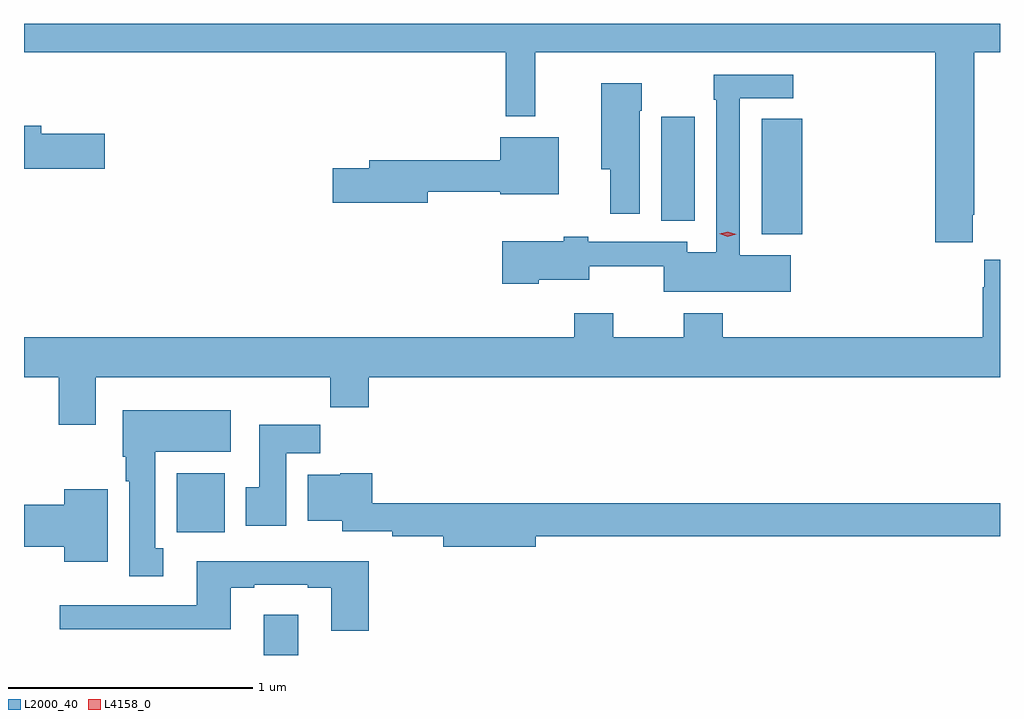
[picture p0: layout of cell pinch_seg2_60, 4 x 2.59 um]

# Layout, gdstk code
import gdstk
lib = gdstk.Library(unit=1e-6, precision=1e-09)
def R(c, l, rs):  # rectangles x0, y0, x1, y1
    for r in rs: c.add(gdstk.rectangle(r[:2], r[2:], *l))
def P(c, l, *ps):  # polygons
    for p in ps: c.add(gdstk.Polygon(p, *l))
L2000_40 = (2000, 40)
L4158_0 = (4158, 0)

pinch_seg2_60 = lib.new_cell('pinch_seg2_60')
R(pinch_seg2_60, L2000_40, [(1034.183,663.813,1034.323,663.979), (1033.826,664.316,1034.023,664.558), (1036.223,665.537,1036.39,666.011), (1035.812,665.593,1035.949,666.019)])
P(pinch_seg2_60, L2000_40, [(1033.2,666.284),(1035.175,666.284),(1035.175,666.021),(1035.296,666.021),(1035.296,666.284),(1036.934,666.284),(1036.934,665.505),(1037.089,665.505),(1037.089,665.617),(1037.094,665.617),(1037.094,666.284),(1037.2,666.284),(1037.2,666.4),(1033.2,666.4)],
  [(1036.342,665.452),(1036.134,665.452),(1036.134,666.096),(1036.353,666.096),(1036.353,666.192),(1036.026,666.192),(1036.026,666.089),(1036.038,666.089),(1036.038,665.464),(1035.918,665.464),(1035.918,665.508),(1035.513,665.508),(1035.513,665.528),(1035.413,665.528),(1035.413,665.509),(1035.161,665.509),(1035.161,665.336),(1035.309,665.336),(1035.309,665.351),(1035.517,665.351),(1035.517,665.407),(1035.822,665.407),(1035.822,665.303),(1036.342,665.303)],
  [(1035.724,666.044),(1035.732,666.044),(1035.732,666.157),(1035.566,666.157),(1035.566,665.804),(1035.602,665.804),(1035.602,665.622),(1035.724,665.622)],
  [(1033.531,665.949),(1033.27,665.949),(1033.27,665.983),(1033.2,665.983),(1033.2,665.807),(1033.531,665.807)],
  [(1034.854,665.713),(1035.152,665.713),(1035.152,665.702),(1035.391,665.702),(1035.391,665.935),(1035.152,665.935),(1035.152,665.842),(1034.615,665.842),(1034.615,665.808),(1034.466,665.808),(1034.466,665.666),(1034.854,665.666)],
  [(1033.495,664.952),(1034.455,664.952),(1034.455,664.828),(1034.612,664.828),(1034.612,664.952),(1037.2,664.952),(1037.2,665.434),(1037.135,665.434),(1037.135,665.321),(1037.129,665.321),(1037.129,665.116),(1036.064,665.116),(1036.064,665.215),(1035.904,665.215),(1035.904,665.116),(1035.615,665.116),(1035.615,665.215),(1035.455,665.215),(1035.455,665.116),(1033.2,665.116),(1033.2,664.952),(1033.343,664.952),(1033.343,664.758),(1033.495,664.758)],
  [(1033.771,664.25),(1033.738,664.25),(1033.738,664.646),(1034.047,664.646),(1034.047,664.816),(1033.604,664.816),(1033.604,664.626),(1033.616,664.626),(1033.616,664.526),(1033.631,664.526),(1033.631,664.137),(1033.771,664.137)],
  [(1034.275,664.64),(1034.414,664.64),(1034.414,664.758),(1034.165,664.758),(1034.165,664.5),(1034.108,664.5),(1034.108,664.344),(1034.275,664.344)],
  [(1035.298,664.3),(1037.2,664.3),(1037.2,664.436),(1034.627,664.436),(1034.627,664.558),(1034.496,664.558),(1034.496,664.552),(1034.363,664.552),(1034.363,664.364),(1034.504,664.364),(1034.504,664.32),(1034.71,664.32),(1034.71,664.3),(1034.918,664.3),(1034.918,664.258),(1035.298,664.258)],
  [(1033.543,664.492),(1033.364,664.492),(1033.364,664.43),(1033.2,664.43),(1033.2,664.258),(1033.364,664.258),(1033.364,664.196),(1033.543,664.196)],
  [(1034.612,664.198),(1033.907,664.198),(1033.907,664.017),(1033.347,664.017),(1033.347,663.92),(1034.047,663.92),(1034.047,664.089),(1034.143,664.089),(1034.143,664.101),(1034.363,664.101),(1034.363,664.089),(1034.459,664.089),(1034.459,663.912),(1034.612,663.912)])
P(pinch_seg2_60, L4158_0, [(1036.085,665.528),(1036.05,665.539),(1036.05,665.539),(1036.05,665.539),(1036.085,665.548),(1036.12,665.538),(1036.12,665.538),(1036.12,665.538)])

lib.write_gds('pinch_seg2_60.gds')
